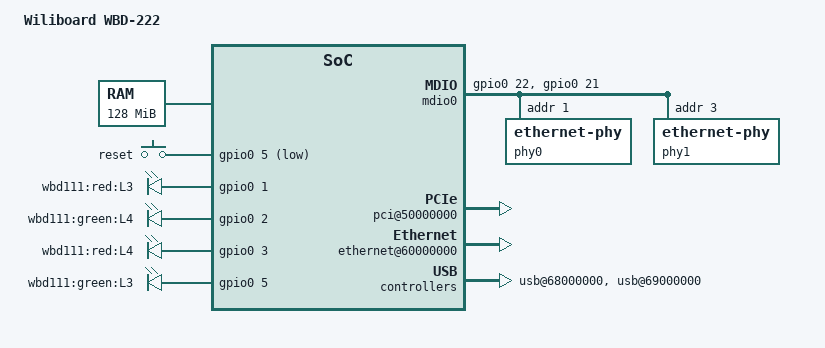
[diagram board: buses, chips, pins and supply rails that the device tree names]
// SPDX-License-Identifier: GPL-2.0
/*
 * Device Tree file for Wiliboard WBD-222
 */

/dts-v1/;

#include "gemini.dtsi"
#include <dt-bindings/input/input.h>

/ {
	model = "Wiliboard WBD-222";
	compatible = "wiliboard,wbd222", "cortina,gemini";
	#address-cells = <1>;
	#size-cells = <1>;

	memory@0 { /* 128 MB */
		device_type = "memory";
		reg = <0x00000000 0x8000000>;
	};

	chosen {
		bootargs = "console=ttyS0,115200n8";
		stdout-path = &uart0;
	};

	gpio_keys {
		compatible = "gpio-keys";

		button-setup {
			debounce-interval = <100>;
			wakeup-source;
			linux,code = <KEY_SETUP>;
			label = "reset";
			/* Conflict with ICE */
			gpios = <&gpio0 5 GPIO_ACTIVE_LOW>;
		};
	};

	leds {
		compatible = "gpio-leds";

		led-red-l3 {
			label = "wbd111:red:L3";
			/* Conflict with TVC and extended parallel flash */
			gpios = <&gpio0 1 GPIO_ACTIVE_HIGH>;
			default-state = "off";
		};
		led-green-l4 {
			label = "wbd111:green:L4";
			/* Conflict with TVC and extended parallel flash */
			gpios = <&gpio0 2 GPIO_ACTIVE_HIGH>;
			default-state = "off";
		};
		led-red-l4 {
			label = "wbd111:red:L4";
			/* Conflict with TVC and extended parallel flash */
			gpios = <&gpio0 3 GPIO_ACTIVE_HIGH>;
			default-state = "off";
		};
		led-green-l3 {
			label = "wbd111:green:L3";
			/* Conflict with TVC and extended parallel flash */
			gpios = <&gpio0 5 GPIO_ACTIVE_HIGH>;
			default-state = "on";
			linux,default-trigger = "heartbeat";
		};
	};

	mdio0: mdio {
		compatible = "virtual,mdio-gpio";
		gpios = <&gpio0 22 GPIO_ACTIVE_HIGH>, /* MDC */
			<&gpio0 21 GPIO_ACTIVE_HIGH>; /* MDIO */
		#address-cells = <1>;
		#size-cells = <0>;

		phy0: ethernet-phy@1 {
			reg = <1>;
			device_type = "ethernet-phy";
		};

		phy1: ethernet-phy@3 {
			reg = <3>;
			device_type = "ethernet-phy";
		};
	};

	soc {
		flash@30000000 {
			status = "okay";
			/* 8MB of flash */
			reg = <0x30000000 0x00800000>;

			partitions {
				compatible = "redboot-fis";
				/* Eraseblock at 0x7e0000 */
				fis-index-block = <0x3f>;
			};
		};

		syscon: syscon@40000000 {
			pinctrl {
				/*
				 * gpio0agrp cover line 0-4
				 * gpio0bgrp cover line 5
				 */
				gpio0_default_pins: pinctrl-gpio0 {
					mux {
						function = "gpio0";
						groups = "gpio0agrp",
						"gpio0bgrp";
					};
				};
				pinctrl-gmii {
					/* This platform use both the ethernet ports */
					mux {
						function = "gmii";
						groups = "gmii_gmac0_grp", "gmii_gmac1_grp";
					};
				};
			};
		};

		gpio0: gpio@4d000000 {
			pinctrl-names = "default";
			pinctrl-0 = <&gpio0_default_pins>;
		};

		pci@50000000 {
			status = "okay";
		};

		ethernet@60000000 {
			status = "okay";

			ethernet-port@0 {
				phy-mode = "rgmii";
				phy-handle = <&phy0>;
			};
			ethernet-port@1 {
				phy-mode = "rgmii";
				phy-handle = <&phy1>;
			};
		};

		usb@68000000 {
			status = "okay";
		};

		usb@69000000 {
			status = "okay";
		};
	};
};
